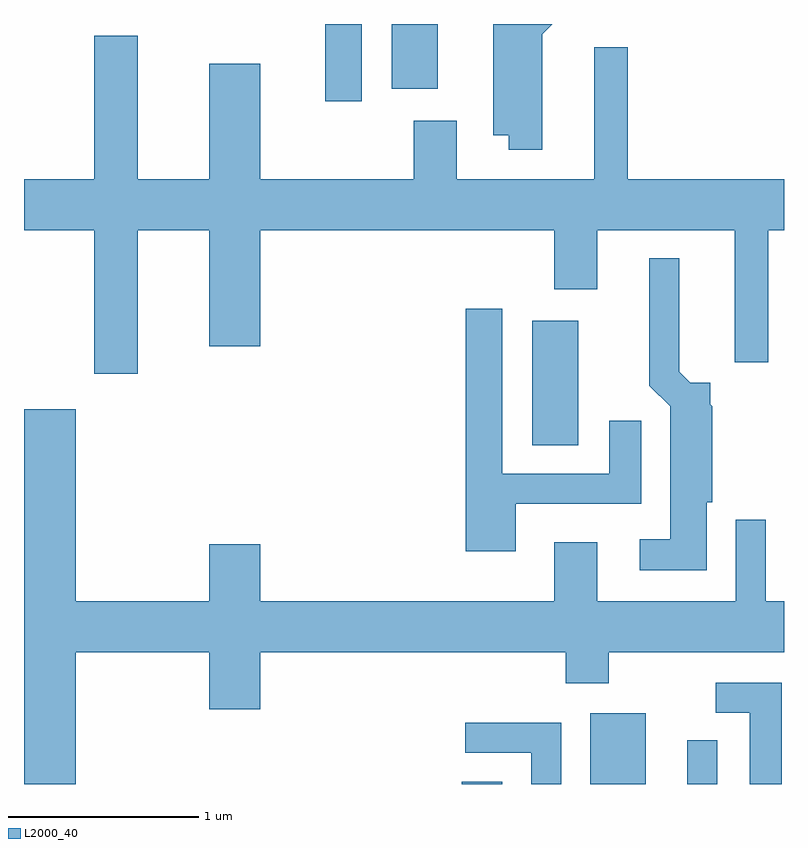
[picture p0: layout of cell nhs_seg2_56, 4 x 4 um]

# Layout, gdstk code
import gdstk
lib = gdstk.Library(unit=1e-6, precision=1e-09)
def R(c, l, rs):  # rectangles x0, y0, x1, y1
    for r in rs: c.add(gdstk.rectangle(r[:2], r[2:], *l))
def P(c, l, *ps):  # polygons
    for p in ps: c.add(gdstk.Polygon(p, *l))
L2000_40 = (2000, 40)

nhs_seg2_56 = lib.new_cell('nhs_seg2_56')
R(nhs_seg2_56, L2000_40, [(187.916,1089.802,188.129,1089.814), (188.591,1089.802,188.884,1090.174), (189.101,1089.802,189.259,1090.033), (188.286,1091.586,188.529,1092.239), (187.196,1093.396,187.389,1093.802), (187.546,1093.461,187.789,1093.802)])
P(nhs_seg2_56, L2000_40, [(188.339,1093.749),(188.392,1093.802),(188.081,1093.802),(188.081,1093.216),(188.161,1093.216),(188.161,1093.141),(188.339,1093.141)],
  [(186.209,1092.716),(186.586,1092.716),(186.586,1092.106),(186.854,1092.106),(186.854,1092.716),(188.401,1092.716),(188.401,1092.406),(188.629,1092.406),(188.629,1092.716),(189.351,1092.716),(189.351,1092.021),(189.529,1092.021),(189.529,1092.716),(189.611,1092.716),(189.611,1092.984),(188.789,1092.984),(188.789,1093.679),(188.611,1093.679),(188.611,1092.984),(187.889,1092.984),(187.889,1093.294),(187.661,1093.294),(187.661,1092.984),(186.854,1092.984),(186.854,1093.594),(186.586,1093.594),(186.586,1092.984),(186.209,1092.984),(186.209,1093.739),(185.981,1093.739),(185.981,1092.984),(185.611,1092.984),(185.611,1092.716),(185.981,1092.716),(185.981,1091.961),(186.209,1091.961)],
  [(189.204,1091.286),(189.234,1091.286),(189.234,1091.791),(189.224,1091.801),(189.224,1091.914),(189.117,1091.914),(189.059,1091.972),(189.059,1092.568),(188.901,1092.568),(188.901,1091.899),(189.011,1091.789),(189.011,1091.089),(188.853,1091.089),(188.853,1090.926),(189.204,1090.926)],
  [(188.199,1091.276),(188.859,1091.276),(188.859,1091.713),(188.691,1091.713),(188.691,1091.434),(188.129,1091.434),(188.129,1092.304),(187.936,1092.304),(187.936,1091.026),(188.199,1091.026)],
  [(185.884,1090.496),(186.586,1090.496),(186.586,1090.196),(186.854,1090.196),(186.854,1090.496),(188.461,1090.496),(188.461,1090.331),(188.689,1090.331),(188.689,1090.496),(189.611,1090.496),(189.611,1090.764),(189.514,1090.764),(189.514,1091.193),(189.356,1091.193),(189.356,1090.764),(188.629,1090.764),(188.629,1091.074),(188.401,1091.074),(188.401,1090.764),(186.854,1090.764),(186.854,1091.064),(186.586,1091.064),(186.586,1090.764),(185.884,1090.764),(185.884,1091.774),(185.611,1091.774),(185.611,1089.802),(185.884,1089.802)],
  [(189.599,1090.334),(189.253,1090.334),(189.253,1090.176),(189.431,1090.176),(189.431,1089.802),(189.599,1089.802)],
  [(188.439,1090.124),(187.933,1090.124),(187.933,1089.966),(188.281,1089.966),(188.281,1089.802),(188.439,1089.802)])

lib.write_gds('nhs_seg2_56.gds')
